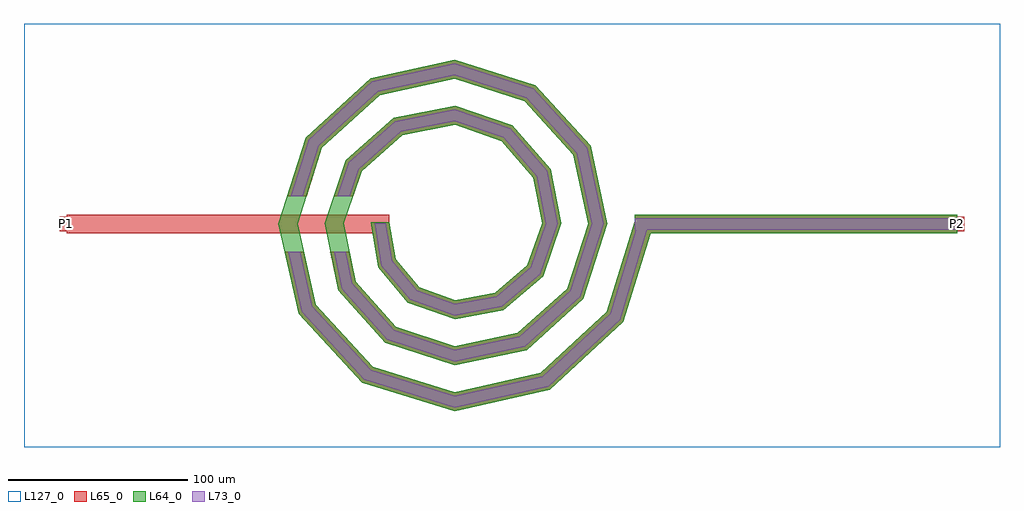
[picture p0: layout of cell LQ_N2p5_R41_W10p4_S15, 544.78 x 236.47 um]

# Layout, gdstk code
import gdstk
lib = gdstk.Library(unit=1e-6, precision=1e-09)
def R(c, l, rs):  # rectangles x0, y0, x1, y1
    for r in rs: c.add(gdstk.rectangle(r[:2], r[2:], *l))
def P(c, l, *ps):  # polygons
    for p in ps: c.add(gdstk.Polygon(p, *l))
L64_0 = (64, 0)
L65_0 = (65, 0)
L73_0 = (73, 0)
L127_0 = (127, 0)

lq_n2p5_r41_w10p4_s15 = lib.new_cell('LQ_N2p5_R41_W10p4_S15')
R(lq_n2p5_r41_w10p4_s15, L64_0, [(100.504,-5.2,280.504,5.2)])
P(lq_n2p5_r41_w10p4_s15, L64_0, [(-32.879,-19.551),(-19.788,-35.212),(0.448,-42.528),(22.705,-38.469),(40.742,-23.048),(48.948,0.395),(44.053,25.873),(26.297,46.28),(0.354,55.369),(-29.05,49.633),(-51.823,29.539),(-61.79,0.32),(-55.21,-32.234),(-32.775,-57.37),(0.292,-68.212),(35.422,-60.785),(62.919,-36.008),(74.634,0.269),(66.358,38.614),(39.237,68.47),(0.249,81.056),(-41.809,71.93),(-74.023,42.464),(-87.479,0.231),(-77.5,-45.006),(-45.689,-79.578),(0.217,-93.901),(48.205,-83.069),(85.133,-48.912),(100.737,1.537),(110.672,-1.537),(94.244,-54.651),(53.217,-92.599),(0.217,-104.661),(-51.452,-88.674),(-87.043,-49.993),(-98.237,0.231),(-83.103,48.253),(-46.767,81.488),(0.249,91.813),(45.057,77.531),(75.935,43.539),(85.389,0.269),(71.957,-41.863),(40.308,-70.382),(0.292,-78.965),(-38.672,-66.381),(-64.832,-37.073),(-72.541,0.32),(-60.802,35.486),(-33.833,59.283),(0.354,66.116),(32.304,55.22),(53.738,30.587),(59.69,0.395),(49.632,-29.13),(27.331,-48.197),(0.448,-53.263),(-25.966,-44.037),(-42.662,-24.063),(-46.599,0.87),(-36.346,0.87)])
R(lq_n2p5_r41_w10p4_s15, L65_0, [(-216.273,-5.2,-36.273,5.2), (100.504,-5.2,280.504,5.2), (-220.273,-4,-212.273,4), (276.504,-4,284.504,4)])
P(lq_n2p5_r41_w10p4_s15, L65_0, [(-77.5,-45.006),(-45.689,-79.578),(0.217,-93.902),(48.205,-83.069),(85.133,-48.912),(100.737,1.537),(110.672,-1.537),(94.244,-54.651),(53.218,-92.599),(0.217,-104.661),(-51.452,-88.674),(-87.043,-49.993),(-94.709,-15.6),(-84.054,-15.6)],
  [(-55.211,-32.234),(-32.775,-57.37),(0.292,-68.212),(35.422,-60.785),(62.919,-36.008),(74.634,0.269),(66.358,38.614),(39.237,68.47),(0.249,81.056),(-41.809,71.93),(-74.023,42.464),(-82.49,15.6),(-93.394,15.6),(-83.103,48.253),(-46.767,81.488),(0.249,91.813),(45.057,77.531),(75.935,43.539),(85.389,0.269),(71.957,-41.863),(40.308,-70.382),(0.292,-78.965),(-38.672,-66.381),(-64.832,-37.073),(-69.259,-15.6),(-58.64,-15.6)],
  [(-19.788,-35.212),(0.448,-42.528),(22.705,-38.469),(40.743,-23.048),(48.948,0.395),(44.053,25.873),(26.297,46.28),(0.354,55.369),(-29.05,49.634),(-51.823,29.539),(-56.476,15.6),(-67.44,15.6),(-60.802,35.486),(-33.833,59.283),(0.354,66.116),(32.304,55.22),(53.738,30.587),(59.69,0.395),(49.632,-29.13),(27.331,-48.197),(0.448,-53.263),(-25.966,-44.037),(-42.662,-24.063),(-46.599,0.87),(-36.346,0.87),(-32.879,-19.551)])
R(lq_n2p5_r41_w10p4_s15, L73_0, [(100.504,-3.2,280.504,3.2)])
P(lq_n2p5_r41_w10p4_s15, L73_0, [(-79.335,-45.965),(-46.797,-81.327),(0.133,-95.971),(49.169,-84.902),(86.885,-50.016),(102.647,0.946),(108.762,0.946),(92.492,-53.548),(52.254,-90.767),(0.133,-102.592),(-50.343,-86.925),(-85.208,-49.034),(-92.66,-15.6),(-86.103,-15.6)],
  [(-57.061,-33.164),(-33.909,-59.103),(0.18,-70.28),(36.362,-62.631),(64.657,-37.134),(76.702,0.165),(68.2,39.561),(40.356,70.213),(0.153,83.125),(-42.762,73.768),(-75.769,43.577),(-84.587,15.6),(-91.297,15.6),(-81.357,47.14),(-45.814,79.65),(0.153,89.745),(43.938,75.788),(74.093,42.592),(83.321,0.165),(70.219,-40.737),(39.368,-68.537),(0.18,-76.897),(-37.538,-64.648),(-62.981,-36.142),(-67.216,-15.6),(-60.682,-15.6)],
  [(-20.976,-36.909),(0.276,-44.593),(23.595,-40.34),(42.452,-24.217),(51.014,0.243),(45.916,26.78),(27.452,47.999),(0.218,57.435),(-29.97,51.489),(-53.55,30.682),(-58.584,15.6),(-65.332,15.6),(-59.075,34.342),(-32.913,57.428),(0.218,64.049),(31.149,53.501),(51.876,29.68),(57.624,0.243),(47.923,-27.96),(26.442,-46.326),(0.276,-51.199),(-24.778,-42.34),(-40.781,-23.195),(-44.627,0.536),(-38.318,0.536),(-34.76,-20.418)])
R(lq_n2p5_r41_w10p4_s15, L127_0, [(-240.273,-124.661,304.504,111.813)])
lq_n2p5_r41_w10p4_s15.add(gdstk.Label('P2', (280.504,0), layer=65, texttype=0))
lq_n2p5_r41_w10p4_s15.add(gdstk.Label('P1', (-216.273,0), layer=65, texttype=0))
lq_n2p5_r41_w10p4_s15.add(gdstk.Label('P2', (284.504,0), layer=145, texttype=0))
lq_n2p5_r41_w10p4_s15.add(gdstk.Label('P1', (-220.273,0), layer=145, texttype=0))

lib.write_gds('LQ_N2p5_R41_W10p4_S15.gds')
